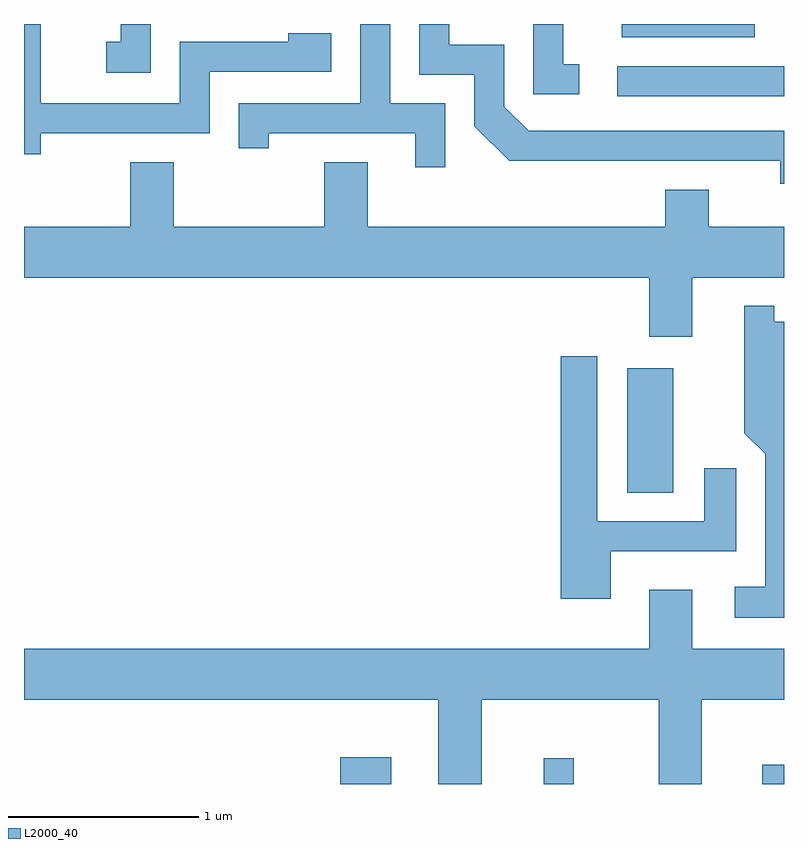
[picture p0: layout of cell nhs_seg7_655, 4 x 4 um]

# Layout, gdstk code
import gdstk
lib = gdstk.Library(unit=1e-6, precision=1e-09)
def R(c, l, rs):  # rectangles x0, y0, x1, y1
    for r in rs: c.add(gdstk.rectangle(r[:2], r[2:], *l))
def P(c, l, *ps):  # polygons
    for p in ps: c.add(gdstk.Polygon(p, *l))
L2000_40 = (2000, 40)

nhs_seg7_655 = lib.new_cell('nhs_seg7_655')
R(nhs_seg7_655, L2000_40, [(205.276,1778.252,205.544,1778.394), (206.346,1778.252,206.504,1778.388), (207.496,1778.252,207.611,1778.354), (206.786,1779.786,207.029,1780.439), (206.733,1781.871,207.611,1782.029), (206.756,1782.181,207.458,1782.252)])
P(nhs_seg7_655, L2000_40, [(205.829,1781.834),(205.539,1781.834),(205.539,1782.252),(205.381,1782.252),(205.381,1781.834),(204.741,1781.834),(204.741,1781.598),(204.899,1781.598),(204.899,1781.676),(205.671,1781.676),(205.671,1781.498),(205.829,1781.498)],
  [(204.279,1782.252),(204.121,1782.252),(204.121,1782.159),(204.043,1782.159),(204.043,1781.996),(204.279,1781.996)],
  [(203.699,1781.676),(204.589,1781.676),(204.589,1782.001),(205.229,1782.001),(205.229,1782.204),(205.001,1782.204),(205.001,1782.159),(204.431,1782.159),(204.431,1781.834),(203.699,1781.834),(203.699,1782.252),(203.611,1782.252),(203.611,1781.566),(203.699,1781.566)],
  [(206.533,1782.039),(206.449,1782.039),(206.449,1782.252),(206.291,1782.252),(206.291,1781.881),(206.533,1781.881)],
  [(207.611,1781.689),(206.267,1781.689),(206.139,1781.817),(206.139,1782.144),(205.849,1782.144),(205.849,1782.252),(205.691,1782.252),(205.691,1781.986),(205.981,1781.986),(205.981,1781.714),(206.164,1781.531),(207.591,1781.531),(207.591,1781.411),(207.611,1781.411)],
  [(207.129,1780.916),(207.611,1780.916),(207.611,1781.184),(207.214,1781.184),(207.214,1781.379),(206.986,1781.379),(206.986,1781.184),(205.419,1781.184),(205.419,1781.524),(205.191,1781.524),(205.191,1781.184),(204.399,1781.184),(204.399,1781.524),(204.171,1781.524),(204.171,1781.184),(203.611,1781.184),(203.611,1780.916),(206.901,1780.916),(206.901,1780.606),(207.129,1780.606)],
  [(207.611,1780.684),(207.559,1780.684),(207.559,1780.768),(207.401,1780.768),(207.401,1780.099),(207.511,1779.989),(207.511,1779.289),(207.353,1779.289),(207.353,1779.126),(207.611,1779.126)],
  [(206.699,1779.476),(207.359,1779.476),(207.359,1779.913),(207.191,1779.913),(207.191,1779.634),(206.629,1779.634),(206.629,1780.504),(206.436,1780.504),(206.436,1779.226),(206.699,1779.226)],
  [(206.019,1778.696),(206.951,1778.696),(206.951,1778.252),(207.179,1778.252),(207.179,1778.696),(207.611,1778.696),(207.611,1778.964),(207.129,1778.964),(207.129,1779.274),(206.901,1779.274),(206.901,1778.964),(203.611,1778.964),(203.611,1778.696),(205.791,1778.696),(205.791,1778.252),(206.019,1778.252)])

lib.write_gds('nhs_seg7_655.gds')
